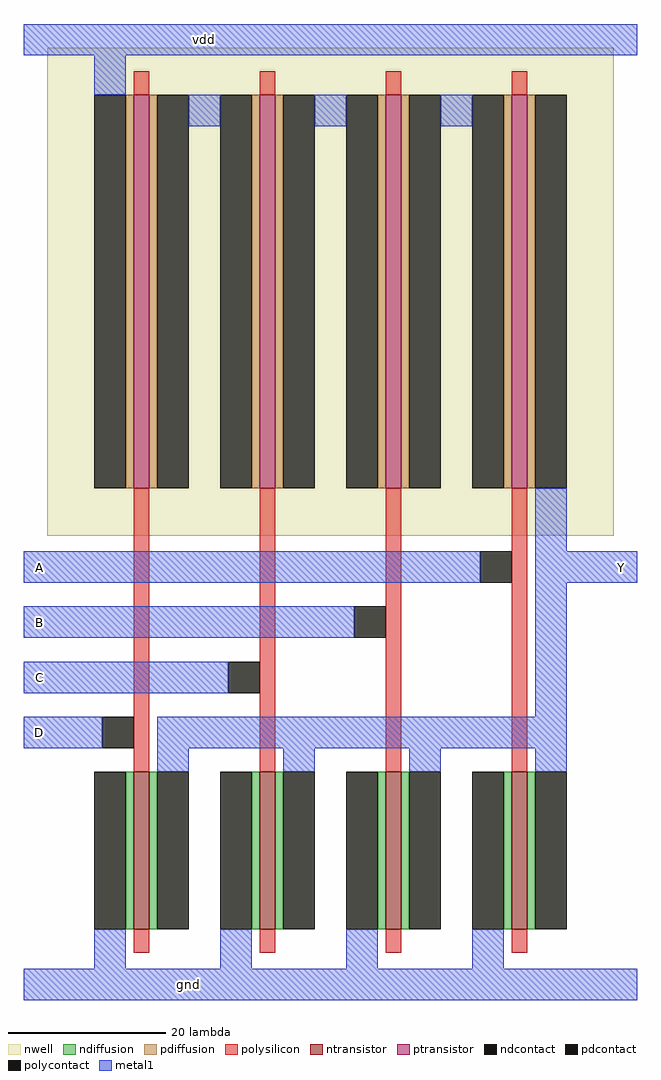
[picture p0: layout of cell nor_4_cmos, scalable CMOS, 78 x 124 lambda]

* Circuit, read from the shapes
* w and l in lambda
.subckt nor_4_cmos A B C D Y gnd vdd
M1 Y D gnd VSUBS nfet w=20 l=2
M2 Y C gnd VSUBS nfet w=20 l=2
M3 Y B gnd VSUBS nfet w=20 l=2
M4 Y A gnd VSUBS nfet w=20 l=2
M5 n1 D vdd n2 pfet w=50 l=2
M6 n3 C n1 n2 pfet w=50 l=2
M7 n4 B n3 n2 pfet w=50 l=2
M8 Y A n4 n2 pfet w=50 l=2
.ends

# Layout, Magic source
magic
tech scmos
<< nwell >>
rect -6 -6 66 56
<< ntransistor >>
rect 5 -56 7 -36
rect 21 -56 23 -36
rect 37 -56 39 -36
rect 53 -56 55 -36
<< ptransistor >>
rect 5 0 7 50
rect 21 0 23 50
rect 37 0 39 50
rect 53 0 55 50
<< ndiffusion >>
rect 4 -56 5 -36
rect 7 -56 8 -36
rect 20 -56 21 -36
rect 23 -56 24 -36
rect 36 -56 37 -36
rect 39 -56 40 -36
rect 52 -56 53 -36
rect 55 -56 56 -36
<< pdiffusion >>
rect 4 0 5 50
rect 7 0 8 50
rect 20 0 21 50
rect 23 0 24 50
rect 36 0 37 50
rect 39 0 40 50
rect 52 0 53 50
rect 55 0 56 50
<< ndcontact >>
rect 0 -56 4 -36
rect 8 -56 12 -36
rect 16 -56 20 -36
rect 24 -56 28 -36
rect 32 -56 36 -36
rect 40 -56 44 -36
rect 48 -56 52 -36
rect 56 -56 60 -36
<< pdcontact >>
rect 0 0 4 50
rect 8 0 12 50
rect 16 0 20 50
rect 24 0 28 50
rect 32 0 36 50
rect 40 0 44 50
rect 48 0 52 50
rect 56 0 60 50
<< polysilicon >>
rect 5 50 7 53
rect 21 50 23 53
rect 37 50 39 53
rect 53 50 55 53
rect 5 -36 7 0
rect 21 -36 23 0
rect 37 -36 39 0
rect 53 -36 55 0
rect 5 -59 7 -56
rect 21 -59 23 -56
rect 37 -59 39 -56
rect 53 -59 55 -56
<< polycontact >>
rect 1 -33 5 -29
rect 17 -26 21 -22
rect 33 -19 37 -15
rect 49 -12 53 -8
<< metal1 >>
rect -9 55 69 59
rect 0 50 4 55
rect 12 46 16 50
rect 28 46 32 50
rect 44 46 48 50
rect 56 -8 60 0
rect -9 -12 49 -8
rect 56 -12 69 -8
rect -9 -19 33 -15
rect -9 -26 17 -22
rect 56 -29 60 -12
rect -9 -33 1 -29
rect 8 -33 60 -29
rect 8 -36 12 -33
rect 24 -36 28 -33
rect 40 -36 44 -33
rect 56 -36 60 -33
rect 0 -61 4 -56
rect 16 -61 20 -56
rect 32 -61 36 -56
rect 48 -61 52 -56
rect -9 -65 69 -61
<< labels >>
rlabel metal1 12 55 16 59 5 vdd
rlabel metal1 10 -65 14 -61 1 gnd
rlabel metal1 -9 -12 -5 -8 3 A
rlabel metal1 -9 -19 -5 -15 3 B
rlabel metal1 -9 -26 -5 -22 3 C
rlabel metal1 -9 -33 -5 -29 3 D
rlabel metal1 65 -12 69 -8 7 Y
<< end >>
